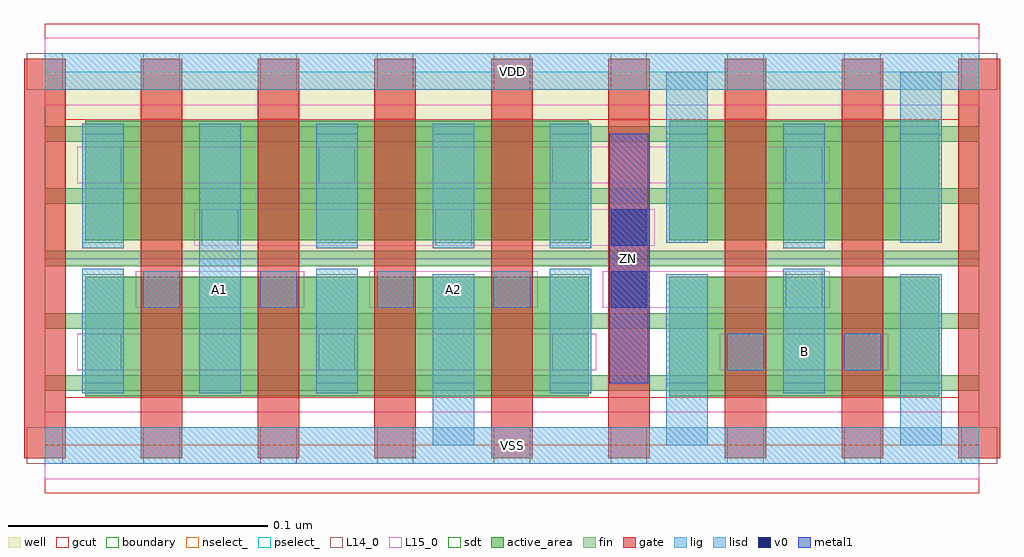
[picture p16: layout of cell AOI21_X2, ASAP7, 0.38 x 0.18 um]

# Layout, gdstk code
import gdstk
lib = gdstk.Library(unit=1e-6, precision=2.5e-10)
def R(c, l, rs):  # rectangles x0, y0, x1, y1
    for r in rs: c.add(gdstk.rectangle(r[:2], r[2:], *l))
def A(c, l, x, y, w, h, nx, ny, dx, dy):  # array of equal rectangles
    R(c, l, [(x+i*dx, y+j*dy, x+i*dx+w, y+j*dy+h) for i in range(nx) for j in range(ny)])
well = (1, 0)
fin = (2, 0)
gate = (7, 0)
gcut = (10, 0)
active_area = (11, 0)
nselect_ = (12, 0)
pselect_ = (13, 0)
L14_0 = (14, 0)
L15_0 = (15, 0)
lig = (16, 0)
lisd = (17, 0)
v0 = (18, 0)
metal1 = (19, 0)
sdt = (88, 0)
boundary = (100, 0)

aoi21_x2 = lib.new_cell('AOI21_X2')
R(aoi21_x2, well, [(0,0.072,0.36,0.144)])
A(aoi21_x2, fin, 0, 0.021, 0.36, 0.006, 1, 5, 0, 0.024)
A(aoi21_x2, gate, -0.008, -0.005, 0.016, 0.154, 9, 1, 0.045, 0)
R(aoi21_x2, gcut, [(0,-0.0185,0.36,0.0185), (-0.008,-0.005,0.008,0.149), (0.352,-0.005,0.368,0.149), (0,0.1255,0.36,0.1625)])
A(aoi21_x2, active_area, 0.0155, 0.019, 0.059, 0.046, 4, 2, 0.045, 0.06)
R(aoi21_x2, active_area, [(0.2405,0.019,0.2995,0.065), (0.2855,0.019,0.3445,0.065), (0.2405,0.079,0.2995,0.125), (0.2855,0.079,0.3445,0.125)])
R(aoi21_x2, nselect_, [(0,0,0.36,0.072)])
R(aoi21_x2, pselect_, [(0,0.072,0.36,0.144)])
A(aoi21_x2, L14_0, -0.007, -0.007, 0.014, 0.014, 9, 2, 0.045, 0.144)
A(aoi21_x2, L14_0, 0.0155, 0.029, 0.014, 0.014, 3, 1, 0.09, 0)
A(aoi21_x2, L14_0, 0.038, 0.053, 0.014, 0.014, 4, 1, 0.045, 0)
A(aoi21_x2, L14_0, 0.0155, 0.101, 0.014, 0.014, 4, 1, 0.09, 0)
R(aoi21_x2, L14_0, [(0.263,0.029,0.277,0.043), (0.308,0.029,0.322,0.043), (0.2855,0.053,0.2995,0.067), (0.0605,0.077,0.0745,0.091), (0.1505,0.077,0.1645,0.091)])
R(aoi21_x2, L15_0, [(0,-0.013,0.36,0.013), (0.0125,0.029,0.2125,0.043), (0.26,0.029,0.325,0.043), (0.035,0.053,0.1,0.067), (0.125,0.053,0.19,0.067), (0.215,0.053,0.3025,0.067), (0.0575,0.077,0.235,0.091), (0.0125,0.101,0.3025,0.115), (0,0.131,0.36,0.157)])
A(aoi21_x2, lig, 0.038, 0.053, 0.014, 0.014, 4, 1, 0.045, 0)
R(aoi21_x2, lig, [(0,-0.007,0.36,0.007), (0.263,0.029,0.277,0.043), (0.308,0.029,0.322,0.043), (0,0.137,0.36,0.151)])
A(aoi21_x2, lisd, 0.1495, 0, 0.016, 0.066, 3, 1, 0.09, 0)
A(aoi21_x2, lisd, 0.1045, 0.02, 0.016, 0.048, 3, 1, 0.09, 0)
R(aoi21_x2, lisd, [(0.1495,0,0.1655,0.066), (0.0145,0.02,0.0305,0.068), (0.0595,0.02,0.0755,0.124), (0.0595,0.02,0.0755,0.124), (0.1045,0.02,0.1205,0.068), (0.2845,0.02,0.3005,0.068), (0.0145,0.076,0.0305,0.124), (0.1045,0.076,0.1205,0.124), (0.1045,0.076,0.1205,0.124), (0.1495,0.076,0.1655,0.124), (0.1495,0.076,0.1655,0.124), (0.1945,0.076,0.2105,0.124), (0.2845,0.076,0.3005,0.124), (0.2845,0.076,0.3005,0.124), (0.2395,0.078,0.2555,0.144), (0.3295,0.078,0.3455,0.144)])
R(aoi21_x2, v0, [(0.218,0.053,0.232,0.067), (0.218,0.077,0.232,0.091)])
R(aoi21_x2, metal1, [(0.2175,0.024,0.2325,0.12)])
A(aoi21_x2, sdt, 0.1495, 0.024, 0.016, 0.042, 4, 2, 0.045, 0.054)
R(aoi21_x2, sdt, [(0.0595,0.02,0.0755,0.124), (0.0595,0.02,0.0755,0.124), (0.0145,0.024,0.0305,0.066), (0.1045,0.024,0.1205,0.066), (0.1045,0.024,0.1205,0.066), (0.1495,0.024,0.1655,0.066), (0.2845,0.024,0.3005,0.066), (0.3295,0.024,0.3455,0.066), (0.0145,0.078,0.0305,0.12), (0.1045,0.078,0.1205,0.12), (0.1045,0.078,0.1205,0.12), (0.1495,0.078,0.1655,0.12), (0.2845,0.078,0.3005,0.12), (0.3295,0.078,0.3455,0.12)])
R(aoi21_x2, boundary, [(0,0,0.36,0.144)])
aoi21_x2.add(gdstk.Label('VDD', (0.18,0.144), layer=1, texttype=251))
aoi21_x2.add(gdstk.Label('VSS', (0.18,0), layer=3, texttype=251))
aoi21_x2.add(gdstk.Label('A1', (0.0675,0.06), layer=15, texttype=251))
aoi21_x2.add(gdstk.Label('A2', (0.1575,0.06), layer=15, texttype=251))
aoi21_x2.add(gdstk.Label('B', (0.2925,0.036), layer=15, texttype=251))
aoi21_x2.add(gdstk.Label('VSS', (0.18,0), layer=15, texttype=251))
aoi21_x2.add(gdstk.Label('VDD', (0.18,0.144), layer=15, texttype=251))
aoi21_x2.add(gdstk.Label('ZN', (0.225,0.072), layer=19, texttype=251))

lib.write_gds('AOI21_X2.gds')
